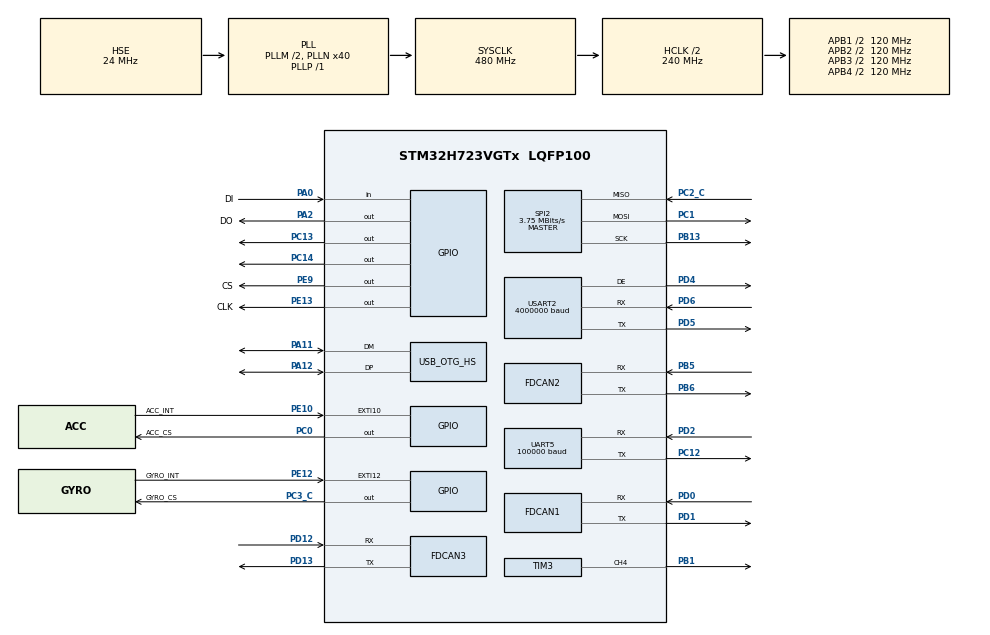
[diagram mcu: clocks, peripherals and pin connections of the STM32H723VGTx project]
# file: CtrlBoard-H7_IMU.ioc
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Dma.Request0=SPI2_RX
Dma.Request1=SPI2_TX
Dma.Request2=UART5_RX
Dma.Request3=USART2_RX
Dma.Request4=USART2_TX
Dma.SPI2_RX.0.Direction=DMA_PERIPH_TO_MEMORY
Dma.SPI2_RX.0.EventEnable=DISABLE
Dma.SPI2_RX.0.FIFOMode=DMA_FIFOMODE_DISABLE
Dma.SPI2_RX.0.Instance=DMA1_Stream0
Dma.SPI2_RX.0.MemDataAlignment=DMA_MDATAALIGN_BYTE
Dma.SPI2_RX.0.MemInc=DMA_MINC_ENABLE
Dma.SPI2_RX.0.Mode=DMA_NORMAL
Dma.SPI2_RX.0.PeriphDataAlignment=DMA_PDATAALIGN_BYTE
Dma.SPI2_RX.0.PeriphInc=DMA_PINC_DISABLE
Dma.SPI2_RX.0.Polarity=HAL_DMAMUX_REQ_GEN_RISING
Dma.SPI2_RX.0.Priority=DMA_PRIORITY_VERY_HIGH
Dma.SPI2_RX.0.RequestNumber=1
Dma.SPI2_RX.0.SignalID=NONE
Dma.SPI2_RX.0.SyncEnable=DISABLE
Dma.SPI2_RX.0.SyncPolarity=HAL_DMAMUX_SYNC_NO_EVENT
Dma.SPI2_RX.0.SyncRequestNumber=1
Dma.SPI2_RX.0.SyncSignalID=NONE
Dma.SPI2_TX.1.Direction=DMA_MEMORY_TO_PERIPH
Dma.SPI2_TX.1.EventEnable=DISABLE
Dma.SPI2_TX.1.FIFOMode=DMA_FIFOMODE_DISABLE
Dma.SPI2_TX.1.Instance=DMA1_Stream1
Dma.SPI2_TX.1.MemDataAlignment=DMA_MDATAALIGN_BYTE
Dma.SPI2_TX.1.MemInc=DMA_MINC_ENABLE
Dma.SPI2_TX.1.Mode=DMA_NORMAL
Dma.SPI2_TX.1.PeriphDataAlignment=DMA_PDATAALIGN_BYTE
Dma.SPI2_TX.1.PeriphInc=DMA_PINC_DISABLE
Dma.SPI2_TX.1.Polarity=HAL_DMAMUX_REQ_GEN_RISING
Dma.SPI2_TX.1.Priority=DMA_PRIORITY_HIGH
Dma.SPI2_TX.1.RequestNumber=1
Dma.SPI2_TX.1.SignalID=NONE
Dma.SPI2_TX.1.SyncEnable=DISABLE
Dma.SPI2_TX.1.SyncPolarity=HAL_DMAMUX_SYNC_NO_EVENT
Dma.SPI2_TX.1.SyncRequestNumber=1
Dma.SPI2_TX.1.SyncSignalID=NONE
Dma.UART5_RX.2.Direction=DMA_PERIPH_TO_MEMORY
Dma.UART5_RX.2.EventEnable=DISABLE
Dma.UART5_RX.2.FIFOMode=DMA_FIFOMODE_DISABLE
Dma.UART5_RX.2.Instance=DMA1_Stream2
Dma.UART5_RX.2.MemDataAlignment=DMA_MDATAALIGN_BYTE
Dma.UART5_RX.2.MemInc=DMA_MINC_ENABLE
Dma.UART5_RX.2.Mode=DMA_CIRCULAR
Dma.UART5_RX.2.PeriphDataAlignment=DMA_PDATAALIGN_BYTE
Dma.UART5_RX.2.PeriphInc=DMA_PINC_DISABLE
Dma.UART5_RX.2.Polarity=HAL_DMAMUX_REQ_GEN_RISING
Dma.UART5_RX.2.Priority=DMA_PRIORITY_VERY_HIGH
Dma.UART5_RX.2.RequestNumber=1
Dma.UART5_RX.2.SignalID=NONE
Dma.UART5_RX.2.SyncEnable=DISABLE
Dma.UART5_RX.2.SyncPolarity=HAL_DMAMUX_SYNC_NO_EVENT
Dma.UART5_RX.2.SyncRequestNumber=1
Dma.UART5_RX.2.SyncSignalID=NONE
Dma.USART2_RX.3.Direction=DMA_PERIPH_TO_MEMORY
Dma.USART2_RX.3.EventEnable=DISABLE
Dma.USART2_RX.3.FIFOMode=DMA_FIFOMODE_DISABLE
Dma.USART2_RX.3.Instance=DMA1_Stream3
Dma.USART2_RX.3.MemDataAlignment=DMA_MDATAALIGN_BYTE
Dma.USART2_RX.3.MemInc=DMA_MINC_ENABLE
Dma.USART2_RX.3.Mode=DMA_CIRCULAR
Dma.USART2_RX.3.PeriphDataAlignment=DMA_PDATAALIGN_BYTE
Dma.USART2_RX.3.PeriphInc=DMA_PINC_DISABLE
Dma.USART2_RX.3.Polarity=HAL_DMAMUX_REQ_GEN_RISING
Dma.USART2_RX.3.Priority=DMA_PRIORITY_HIGH
Dma.USART2_RX.3.RequestNumber=1
Dma.USART2_RX.3.SignalID=NONE
Dma.USART2_RX.3.SyncEnable=DISABLE
Dma.USART2_RX.3.SyncPolarity=HAL_DMAMUX_SYNC_NO_EVENT
Dma.USART2_RX.3.SyncRequestNumber=1
Dma.USART2_RX.3.SyncSignalID=NONE
Dma.USART2_TX.4.Direction=DMA_MEMORY_TO_PERIPH
Dma.USART2_TX.4.EventEnable=DISABLE
Dma.USART2_TX.4.FIFOMode=DMA_FIFOMODE_DISABLE
Dma.USART2_TX.4.Instance=DMA1_Stream4
Dma.USART2_TX.4.MemDataAlignment=DMA_MDATAALIGN_BYTE
Dma.USART2_TX.4.MemInc=DMA_MINC_ENABLE
Dma.USART2_TX.4.Mode=DMA_NORMAL
Dma.USART2_TX.4.PeriphDataAlignment=DMA_PDATAALIGN_BYTE
Dma.USART2_TX.4.PeriphInc=DMA_PINC_DISABLE
Dma.USART2_TX.4.Polarity=HAL_DMAMUX_REQ_GEN_RISING
Dma.USART2_TX.4.Priority=DMA_PRIORITY_HIGH
Dma.USART2_TX.4.RequestNumber=1
Dma.USART2_TX.4.SignalID=NONE
Dma.USART2_TX.4.SyncEnable=DISABLE
Dma.USART2_TX.4.SyncPolarity=HAL_DMAMUX_SYNC_NO_EVENT
Dma.USART2_TX.4.SyncRequestNumber=1
Dma.USART2_TX.4.SyncSignalID=NONE
FDCAN1.CalculateBaudRateNominal=1000000
FDCAN1.CalculateTimeBitNominal=1000
FDCAN1.CalculateTimeQuantumNominal=25.0
FDCAN1.DataPrescaler=3
FDCAN1.DataSyncJumpWidth=10
FDCAN1.DataTimeSeg1=29
FDCAN1.DataTimeSeg2=10
FDCAN1.ExtFiltersNbr=5
FDCAN1.MessageRAMOffset=5
FDCAN1.NominalPrescaler=3
FDCAN1.NominalSyncJumpWidth=10
FDCAN1.NominalTimeSeg1=29
FDCAN1.NominalTimeSeg2=10
FDCAN1.RxFifo0ElmtSize=FDCAN_DATA_BYTES_24
FDCAN1.RxFifo0ElmtsNbr=4
FDCAN1.RxFifo1ElmtSize=FDCAN_DATA_BYTES_24
FDCAN1.StdFiltersNbr=5
FDCAN1.TxElmtSize=FDCAN_DATA_BYTES_24
FDCAN1.TxFifoQueueElmtsNbr=8
FDCAN2.CalculateBaudRateNominal=1000000
FDCAN2.CalculateTimeBitNominal=1000
FDCAN2.CalculateTimeQuantumNominal=25.0
FDCAN2.DataPrescaler=3
FDCAN2.DataSyncJumpWidth=10
FDCAN2.DataTimeSeg1=29
FDCAN2.DataTimeSeg2=10
FDCAN2.ExtFiltersNbr=5
FDCAN2.MessageRAMOffset=854
FDCAN2.NominalPrescaler=3
FDCAN2.NominalSyncJumpWidth=10
FDCAN2.NominalTimeSeg1=29
FDCAN2.NominalTimeSeg2=10
FDCAN2.RxFifo1ElmtSize=FDCAN_DATA_BYTES_24
FDCAN2.RxFifo1ElmtsNbr=4
FDCAN2.StdFiltersNbr=5
FDCAN2.TxElmtSize=FDCAN_DATA_BYTES_24
FDCAN2.TxFifoQueueElmtsNbr=4
FDCAN3.CalculateBaudRateNominal=1000000
FDCAN3.CalculateTimeBitNominal=1000
FDCAN3.CalculateTimeQuantumNominal=25.0
FDCAN3.DataPrescaler=3
FDCAN3.DataSyncJumpWidth=10
FDCAN3.DataTimeSeg1=29
FDCAN3.DataTimeSeg2=5
FDCAN3.ExtFiltersNbr=5
FDCAN3.MessageRAMOffset=1709
FDCAN3.NominalPrescaler=3
FDCAN3.NominalSyncJumpWidth=10
FDCAN3.NominalTimeSeg1=29
FDCAN3.NominalTimeSeg2=10
FDCAN3.RxFifo0ElmtSize=FDCAN_DATA_BYTES_24
FDCAN3.RxFifo0ElmtsNbr=4
FDCAN3.StdFiltersNbr=5
FDCAN3.TxElmtSize=FDCAN_DATA_BYTES_24
FDCAN3.TxFifoQueueElmtsNbr=4
FREERTOS.MEMORY_ALLOCATION=0
FREERTOS.Tasks01=defaultTask,0,128,StartDefaultTask,Default,NULL,Dynamic,NULL,NULL;INS_TASK,3,512,INS_Task,Default,NULL,Dynamic,NULL,NULL;CHASSIS_TASK,1,1024,Chassis_Task,Default,NULL,Dynamic,NULL,NULL;REMOTE_TASK,1,256,Remote_Task,Default,NULL,Dynamic,NULL,NULL;ManipulatorTask,1,512,Manipulator_Task,Default,NULL,Dynamic,NULL,NULL
FREERTOS.configENABLE_FPU=1
FREERTOS.configTOTAL_HEAP_SIZE=30720
Mcu.Family=STM32H7
Mcu.Name=STM32H723VGTx
Mcu.Package=LQFP100
NVIC.DMA1_Stream0_IRQn=true\:6\:0\:true\:false\:true\:true\:false\:true\:true
NVIC.DMA1_Stream1_IRQn=true\:6\:0\:true\:false\:true\:true\:false\:true\:true
NVIC.DMA1_Stream2_IRQn=true\:5\:0\:false\:false\:true\:true\:false\:true\:true
NVIC.DMA1_Stream3_IRQn=true\:5\:0\:false\:false\:true\:true\:false\:true\:true
NVIC.DMA1_Stream4_IRQn=true\:5\:0\:false\:false\:true\:true\:false\:true\:true
NVIC.FDCAN1_IT0_IRQn=true\:6\:0\:true\:false\:true\:true\:true\:true\:true
NVIC.FDCAN2_IT0_IRQn=true\:5\:0\:true\:false\:true\:true\:true\:true\:true
NVIC.FDCAN3_IT0_IRQn=true\:5\:0\:false\:false\:true\:true\:true\:true\:true
NVIC.OTG_HS_IRQn=true\:5\:0\:false\:false\:true\:true\:false\:true\:true
NVIC.PriorityGroup=NVIC_PRIORITYGROUP_4
NVIC.SPI2_IRQn=true\:5\:0\:true\:false\:true\:true\:false\:true\:true
NVIC.TIM2_IRQn=true\:15\:0\:false\:false\:true\:false\:false\:true\:true
NVIC.TimeBase=TIM2_IRQn
NVIC.TimeBaseIP=TIM2
NVIC.UART5_IRQn=true\:5\:0\:false\:false\:true\:true\:true\:true\:true
NVIC.USART2_IRQn=true\:5\:0\:false\:false\:true\:true\:true\:true\:true
PA0.GPIO_Label=DI
PA0.GPIO_PuPd=GPIO_PULLUP
PA0.Signal=GPIO_Input
PA11.Mode=Device_Only_FS
PA11.Signal=USB_OTG_HS_DM
PA12.Mode=Device_Only_FS
PA12.Signal=USB_OTG_HS_DP
PA13(JTMS/SWDIO).Mode=Serial_Wire
PA13(JTMS/SWDIO).Signal=DEBUG_JTMS-SWDIO
PA14(JTCK/SWCLK).Mode=Serial_Wire
PA14(JTCK/SWCLK).Signal=DEBUG_JTCK-SWCLK
PA2.GPIO_Label=DO
PA2.GPIO_PuPd=GPIO_PULLUP
PA2.GPIO_Speed=GPIO_SPEED_FREQ_VERY_HIGH
PA2.PinState=GPIO_PIN_SET
PA2.Signal=GPIO_Output
PB1.Signal=S_TIM3_CH4
PB13.GPIO_Speed=GPIO_SPEED_FREQ_VERY_HIGH
PB13.Mode=Full_Duplex_Master
PB13.Signal=SPI2_SCK
PB5.Mode=FDCAN_Activate
PB5.Signal=FDCAN2_RX
PB6.Mode=FDCAN_Activate
PB6.Signal=FDCAN2_TX
PC0.GPIO_Label=ACC_CS
PC0.GPIO_Speed=GPIO_SPEED_FREQ_VERY_HIGH
PC0.PinState=GPIO_PIN_SET
PC0.Signal=GPIO_Output
PC1.GPIO_Speed=GPIO_SPEED_FREQ_VERY_HIGH
PC1.Mode=Full_Duplex_Master
PC1.Signal=SPI2_MOSI
PC12.Mode=Asynchronous
PC12.Signal=UART5_TX
PC13.Signal=GPIO_Output
PC14-OSC32_IN.Signal=GPIO_Output
PC2_C.GPIO_Speed=GPIO_SPEED_FREQ_VERY_HIGH
PC2_C.Mode=Full_Duplex_Master
PC2_C.Signal=SPI2_MISO
PC3_C.GPIO_Label=GYRO_CS
PC3_C.GPIO_Speed=GPIO_SPEED_FREQ_VERY_HIGH
PC3_C.PinState=GPIO_PIN_SET
PC3_C.Signal=GPIO_Output
PD0.Mode=FDCAN_Activate
PD0.Signal=FDCAN1_RX
PD1.Mode=FDCAN_Activate
PD1.Signal=FDCAN1_TX
PD12.Mode=FDCAN_Activate
PD12.Signal=FDCAN3_RX
PD13.Mode=FDCAN_Activate
PD13.Signal=FDCAN3_TX
PD2.Mode=Asynchronous
PD2.Signal=UART5_RX
PD4.Mode=Hardware Flow Control (RS485)
PD4.Signal=USART2_DE
PD5.Mode=Asynchronous
PD5.Signal=USART2_TX
PD6.Mode=Asynchronous
PD6.Signal=USART2_RX
PE10.GPIO_Label=ACC_INT
PE10.Signal=GPXTI10
PE12.GPIO_Label=GYRO_INT
PE12.Signal=GPXTI12
PE13.GPIO_Label=CLK
PE13.GPIO_PuPd=GPIO_PULLUP
PE13.GPIO_Speed=GPIO_SPEED_FREQ_VERY_HIGH
PE13.PinState=GPIO_PIN_SET
PE13.Signal=GPIO_Output
PE9.GPIO_Label=CS
PE9.GPIO_PuPd=GPIO_PULLUP
PE9.GPIO_Speed=GPIO_SPEED_FREQ_VERY_HIGH
PE9.PinState=GPIO_PIN_SET
PE9.Signal=GPIO_Output
PH0-OSC_IN.Mode=HSE-External-Oscillator
PH0-OSC_IN.Signal=RCC_OSC_IN
PH1-OSC_OUT.Mode=HSE-External-Oscillator
PH1-OSC_OUT.Signal=RCC_OSC_OUT
ProjectManager.HeapSize=0x200
ProjectManager.StackSize=0x800
ProjectManager.TargetToolchain=MDK-ARM V5.27
RCC.ADCFreq_Value=100000000
RCC.APB1Freq_Value=120000000
RCC.APB2Freq_Value=120000000
RCC.APB3Freq_Value=120000000
RCC.APB4Freq_Value=120000000
RCC.CortexFreq_Value=480000000
RCC.D1PPRE=RCC_APB3_DIV2
RCC.D2PPRE1=RCC_APB1_DIV2
RCC.D2PPRE2=RCC_APB2_DIV2
RCC.D3PPRE=RCC_APB4_DIV2
RCC.DIVM1=2
RCC.DIVM2=24
RCC.DIVN1=40
RCC.DIVN2=200
RCC.DIVP1=1
RCC.DIVQ1=4
RCC.DIVR1=4
RCC.HCLKFreq_Value=240000000
RCC.HPRE=RCC_HCLK_DIV2
RCC.HSE_VALUE=24000000
RCC.PLL2FRACN=0
RCC.PLL3FRACN=0
RCC.PLLFRACN=0
RCC.PLLSourceVirtual=RCC_PLLSOURCE_HSE
RCC.SYSCLKFreq_VALUE=480000000
RCC.SYSCLKSource=RCC_SYSCLKSOURCE_PLLCLK
RCC.USBCLockSelection=RCC_USBCLKSOURCE_HSI48
RCC.USBFreq_Value=48000000
SH.S_TIM3_CH4.0=TIM3_CH4,PWM Generation4 CH4
SPI2.BaudRatePrescaler=SPI_BAUDRATEPRESCALER_32
SPI2.CLKPhase=SPI_PHASE_2EDGE
SPI2.CLKPolarity=SPI_POLARITY_HIGH
SPI2.CalculateBaudRate=3.75 MBits/s
SPI2.DataSize=SPI_DATASIZE_8BIT
SPI2.Direction=SPI_DIRECTION_2LINES
SPI2.Mode=SPI_MODE_MASTER
SPI2.VirtualType=VM_MASTER
TIM3.AutoReloadPreload=TIM_AUTORELOAD_PRELOAD_ENABLE
TIM3.Channel-PWM\ Generation4\ CH4=TIM_CHANNEL_4
TIM3.Period=10000-1
TIM3.Prescaler=24-1
UART5.BaudRate=100000
UART5.Mode=MODE_RX
UART5.Parity=PARITY_EVEN
UART5.StopBits=UART_STOPBITS_2
UART5.WordLength=WORDLENGTH_9B
USART2.BaudRate=4000000
USART2.OverSampling=UART_OVERSAMPLING_16
USART2.UART_DEAssertionTime=0
USART2.UART_DEDeassertionTime=0
USART2.VirtualMode-Asynchronous=VM_ASYNC
USART2.VirtualMode-Hardware\ Flow\ Control\ (RS485)=VM_ASYNC
USB_DEVICE.CLASS_NAME_HS=CDC
USB_DEVICE.VirtualMode=Cdc
USB_DEVICE.VirtualModeHS=Cdc_HS
USB_OTG_HS.VirtualMode-Device_Only_FS=Device_Only_FS
VP_FREERTOS_VS_CMSIS_V1.Mode=CMSIS_V1
VP_SYS_VS_tim2.Mode=TIM2
VP_USB_DEVICE_VS_USB_DEVICE_CDC_HS.Mode=CDC_HS
board=custom

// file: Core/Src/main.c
/* USER CODE BEGIN Header */
/**
  ******************************************************************************
  * @file           : main.c
  * @brief          : Main program body
  ******************************************************************************
  * @attention
  *
  * Copyright (c) 2024 STMicroelectronics.
  * All rights reserved.
  *
  * This software is licensed under terms that can be found in the LICENSE file
  * in the root directory of this software component.
  * If no LICENSE file comes with this software, it is provided AS-IS.
  *
  ******************************************************************************
  */
/* USER CODE END Header */
#include "main.h"
#include "cmsis_os.h"
#include "dma.h"
#include "fdcan.h"
#include "spi.h"
#include "tim.h"
#include "usart.h"
#include "usb_device.h"
#include "gpio.h"

/* USER CODE BEGIN Includes */
#include "BMI088driver.h"
#include "kalman_filter.h"
#include "mahony_filter.h"
#include "bsp_dwt.h"
#include "BMI088Middleware.h"
#include "bsp_can.h"
#include "bsp_uart.h"
#include "user_sys_config.h"
#include "DM_Motor.h"
/* USER CODE END Includes */

void SystemClock_Config(void);
void MX_FREERTOS_Init(void);

int main(void)
{

  /* MCU Configuration--------------------------------------------------------*/

  /* Reset of all peripherals, Initializes the Flash interface and the Systick. */
  HAL_Init();

  /* USER CODE BEGIN Init */
//06 01 00 00 00 00 00 00 00 00 00 00 00 00 80 3F
  /* USER CODE END Init */

  /* Configure the system clock */
  SystemClock_Config();

  /* Initialize all configured peripherals */
  MX_GPIO_Init();
  MX_DMA_Init();
  MX_SPI2_Init();
  MX_FDCAN1_Init();
  MX_FDCAN2_Init();
  MX_TIM3_Init();
  MX_FDCAN3_Init();
  MX_UART5_Init();
  MX_USART2_UART_Init();
  /* USER CODE BEGIN 2 */
  MX_USB_DEVICE_Init();
  DWT_Init(480);

  BSP_USART_Init();

//  HAL_Delay(SYS_DELAY_START_TIME);
//
//  while (BMI088_init(&hspi2, 0) != BMI088_NO_ERROR)
//  {
//	  ;
//  }
//  Power_OUT1_ON;
//  Power_OUT2_ON;

  FDCAN1_Config();
  FDCAN2_Config();
  FDCAN3_Config();

  /* USER CODE END 2 */

  /* Call init function for freertos objects (in freertos.c) */
  MX_FREERTOS_Init();

  /* Start scheduler */
  osKernelStart();

  /* We should never get here as control is now taken by the scheduler */
  /* Infinite loop */
  while (1)
  {

  }
}

void SystemClock_Config(void)
{
  RCC_OscInitTypeDef RCC_OscInitStruct = {0};
  RCC_ClkInitTypeDef RCC_ClkInitStruct = {0};

  /** Supply configuration update enable
  */
  HAL_PWREx_ConfigSupply(PWR_LDO_SUPPLY);

  /** Configure the main internal regulator output voltage
  */
  __HAL_PWR_VOLTAGESCALING_CONFIG(PWR_REGULATOR_VOLTAGE_SCALE0);

  while(!__HAL_PWR_GET_FLAG(PWR_FLAG_VOSRDY)) {}

  /** Initializes the RCC Oscillators according to the specified parameters
  * in the RCC_OscInitTypeDef structure.
  */
  RCC_OscInitStruct.OscillatorType = RCC_OSCILLATORTYPE_HSI48|RCC_OSCILLATORTYPE_HSE;
  RCC_OscInitStruct.HSEState = RCC_HSE_ON;
  RCC_OscInitStruct.HSI48State = RCC_HSI48_ON;
  RCC_OscInitStruct.PLL.PLLState = RCC_PLL_ON;
  RCC_OscInitStruct.PLL.PLLSource = RCC_PLLSOURCE_HSE;
  RCC_OscInitStruct.PLL.PLLM = 2;
  RCC_OscInitStruct.PLL.PLLN = 40;
  RCC_OscInitStruct.PLL.PLLP = 1;
  RCC_OscInitStruct.PLL.PLLQ = 4;
  RCC_OscInitStruct.PLL.PLLR = 4;
  RCC_OscInitStruct.PLL.PLLRGE = RCC_PLL1VCIRANGE_3;
  RCC_OscInitStruct.PLL.PLLVCOSEL = RCC_PLL1VCOWIDE;
  RCC_OscInitStruct.PLL.PLLFRACN = 0;
  if (HAL_RCC_OscConfig(&RCC_OscInitStruct) != HAL_OK)
  {
    Error_Handler();
  }

  /** Initializes the CPU, AHB and APB buses clocks
  */
  RCC_ClkInitStruct.ClockType = RCC_CLOCKTYPE_HCLK|RCC_CLOCKTYPE_SYSCLK
                              |RCC_CLOCKTYPE_PCLK1|RCC_CLOCKTYPE_PCLK2
                              |RCC_CLOCKTYPE_D3PCLK1|RCC_CLOCKTYPE_D1PCLK1;
  RCC_ClkInitStruct.SYSCLKSource = RCC_SYSCLKSOURCE_PLLCLK;
  RCC_ClkInitStruct.SYSCLKDivider = RCC_SYSCLK_DIV1;
  RCC_ClkInitStruct.AHBCLKDivider = RCC_HCLK_DIV2;
  RCC_ClkInitStruct.APB3CLKDivider = RCC_APB3_DIV2;
  RCC_ClkInitStruct.APB1CLKDivider = RCC_APB1_DIV2;
  RCC_ClkInitStruct.APB2CLKDivider = RCC_APB2_DIV2;
  RCC_ClkInitStruct.APB4CLKDivider = RCC_APB4_DIV2;

  if (HAL_RCC_ClockConfig(&RCC_ClkInitStruct, FLASH_LATENCY_3) != HAL_OK)
  {
    Error_Handler();
  }
}

void HAL_TIM_PeriodElapsedCallback(TIM_HandleTypeDef *htim)
{
  if (htim->Instance == TIM2) {
    HAL_IncTick();
  }
}

void Error_Handler(void)
{
  __disable_irq();
  while (1)
  {
  }
}
